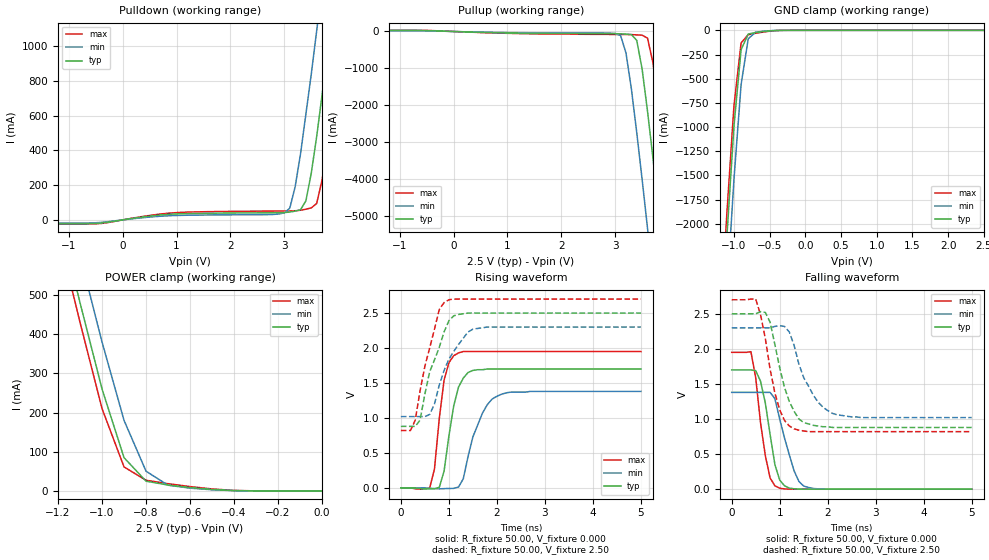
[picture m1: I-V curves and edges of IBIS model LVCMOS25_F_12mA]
| [Disclaimer] The data in these models is derived from HSPICE simulations
| using modeling information extracted from the target process.
| While a great deal of care has been taken to provide
| information that is accurate, this model is considered
| PRELIMINARY as it has not been verified by actual silicon
| measurement.
| [Copyright] Copyright 2004 Xilinx Inc., All rights reserved.
| From vga_top.ibs, Spartan-3, Xilinx, Inc.
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|   Model LVCMOS25_F_12mA
[Model]   LVCMOS25_F_12mA
Model_type   I/O
Polarity   Non-Inverting
Enable   Active-Low
Vinl =   0.70V
Vinh =   1.70V
Vmeas =   1.25V
Cref =  0.000F
Rref =   1.00M
Vref =  0.000V
C_comp   6.38pF   4.60pF   8.23pF
[Temperature Range]   25.00   85.00   0.000
[Voltage Range]   2.50V   2.30V   2.70V
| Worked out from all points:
|   slope of the pulldown table from 0 to 0.375 V, typ, clamps not added: 22.4 ohm
|   slope of the pullup table from 0 to 0.375 V, typ, clamps not added: 20.9 ohm
|   GND clamp passes 1 mA (typ) near -0.38 V on its own axis
|   POWER clamp passes 1 mA (typ) near -0.41 V on its own axis
|   rising waveform, R_fixture 50.00, V_fixture 0.000: 20-80 % time 250ps typ, 383ps min, 191ps max; typ from 0 V to 1.7 V
|   rising waveform, R_fixture 50.00, V_fixture 2.50: 20-80 % time 412ps typ, 466ps min, 365ps max; typ from 0.88 V to 2.5 V
|   falling waveform, R_fixture 50.00, V_fixture 0.000: 20-80 % time 246ps typ, 329ps min, 223ps max; typ from 1.7 V to 0 V
|   falling waveform, R_fixture 50.00, V_fixture 2.50: 20-80 % time 369ps typ, 462ps min, 324ps max; typ from 2.5 V to 0.88 V
[Pulldown]
| voltage   I(typ)   I(min)   I(max)
-2.5V     -22.79mA   -18.33mA   -24.32mA
3V        42.13mA    39.99mA    51.17mA
3.1V      45.16mA    67.34mA    51.44mA
3.2V      50.35mA    190mA      52.36mA
3.4V      110mA      610mA      61.47mA
3.5V      270mA      840mA      69.07mA
3.6V      480mA      1.09A      94.52mA
3.7V      720mA      1.34A      230mA
3.8V      960mA      1.59A      440mA
4V        1.47A      2.1A       920mA
4.2V      1.98A      2.62A      1.42A
5V        4.06A      4.7A       3.49A
[Pullup]
| voltage   I(typ)   I(min)   I(max)
-2.5V     29.39mA    22.89mA    32.78mA
3.1V      -62.94mA   -110mA     -80.48mA
3.2V      -69.54mA   -580mA     -81.46mA
3.3V      -83.32mA   -1.55A     -84.45mA
3.4V      -240mA     -2.74A     -91.48mA
3.5V      -1.02A     -4.01A     -100mA
3.6V      -2.16A     -5.33A     -180mA
3.7V      -3.42A     -6.68A     -840mA
3.8V      -4.74A     -8.05A     -1.95A
4V        -7.47A     -10.81A    -4.52A
4.2V      -10.25A    -13.6A     -7.24A
5V        -21.56A    -24.91A    -18.51A
[GND_clamp]
| voltage   I(typ)   I(min)   I(max)
-2.5V     -21.56A    -22.07A    -21.35A
-1.2V     -3.41A     -4.01A     -3.17A
-1.1V     -2.14A     -2.73A     -1.9A
-1V       -990mA     -1.54A     -780mA
-900mV    -200mA     -560mA     -130mA
-800mV    -38.51mA   -87.42mA   -44.56mA
-700mV    -22.72mA   -20.52mA   -30.56mA
-400mV    -1.21mA    -970uA     -2.67mA
2.5V      19.29nA    8.49uA     24.01nA
[POWER_clamp]
| voltage   I(typ)   I(min)   I(max)
-2.5V     4.06A      4.18A      4.02A
-1.2V     710mA      840mA      660mA
-1.1V     480mA      600mA      430mA
-1V       260mA      380mA      210mA
-900mV    84.79mA    180mA      61.18mA
-800mV    24.88mA    50.29mA    27.26mA
-700mV    15.03mA    14.55mA    18.43mA
-600mV    8.66mA     7.1mA      11.09mA
-400mV    790uA      730uA      1.23mA
0V        19.29nA    79.37nA    32.11nA
[Ramp]
dV/dt_r   1.02/0.24n   0.83/0.36n   1.17/0.19n
dV/dt_f   0.97/0.36n   0.77/0.46n   1.13/0.31n
R_load = 50.00
[Rising Waveform]
R_fixture = 50.00
V_fixture = 0.000
| time   V(typ)   V(min)   V(max)
0s        0V         1.57uV     0V
600ps     -12.38mV   -4.86mV    -2.14mV
700ps     -9.94mV    -10.81mV   270mV
900ps     240mV      -10.52mV   1.54V
1.1ns     1.17V      -6.78mV    1.89V
1.2ns     1.44V      12.6mV     1.93V
1.4ns     1.65V      450mV      1.95V
1.7ns     1.69V      1.07V      1.95V
2ns       1.7V       1.31V      1.95V
5ns       1.7V       1.38V      1.95V
[Rising Waveform]
R_fixture = 50.00
V_fixture = 2.50
V_fixture_min = 2.30
V_fixture_max = 2.70
| time   V(typ)   V(min)   V(max)
0s        880mV      1.02V      820mV
200ps     880mV      1.02V      820mV
300ps     880mV      1.02V      970mV
400ps     970mV      1.02V      1.39V
600ps     1.66V      1.05V      2V
700ps     1.83V      1.2V       2.27V
800ps     2.01V      1.47V      2.55V
1ns       2.39V      1.84V      2.69V
1.5ns     2.5V       2.27V      2.7V
5ns       2.5V       2.3V       2.7V
[Falling Waveform]
R_fixture = 50.00
V_fixture = 0.000
| time   V(typ)   V(min)   V(max)
0s        1.7V       1.38V      1.95V
400ps     1.7V       1.38V      1.96V
500ps     1.69V      1.38V      1.59V
600ps     1.54V      1.38V      950mV
800ps     780mV      1.38V      160mV
900ps     350mV      1.29V      47.26mV
1ns       130mV      1V         14.08mV
1.3ns     4.83mV     260mV      220uV
1.5ns     330uV      43.95mV    6.05uV
5ns       0V         0V         0V
[Falling Waveform]
R_fixture = 50.00
V_fixture = 2.50
V_fixture_min = 2.30
V_fixture_max = 2.70
| time   V(typ)   V(min)   V(max)
0s        2.5V       2.3V       2.7V
500ps     2.5V       2.3V       2.71V
700ps     2.52V      2.3V       2.15V
800ps     2.38V      2.3V       1.71V
1ns       1.73V      2.33V      1.13V
1.3ns     1.11V      2.05V      860mV
1.5ns     950mV      1.59V      830mV
1.7ns     910mV      1.34V      820mV
2.1ns     880mV      1.08V      820mV
5ns       880mV      1.02V      820mV
